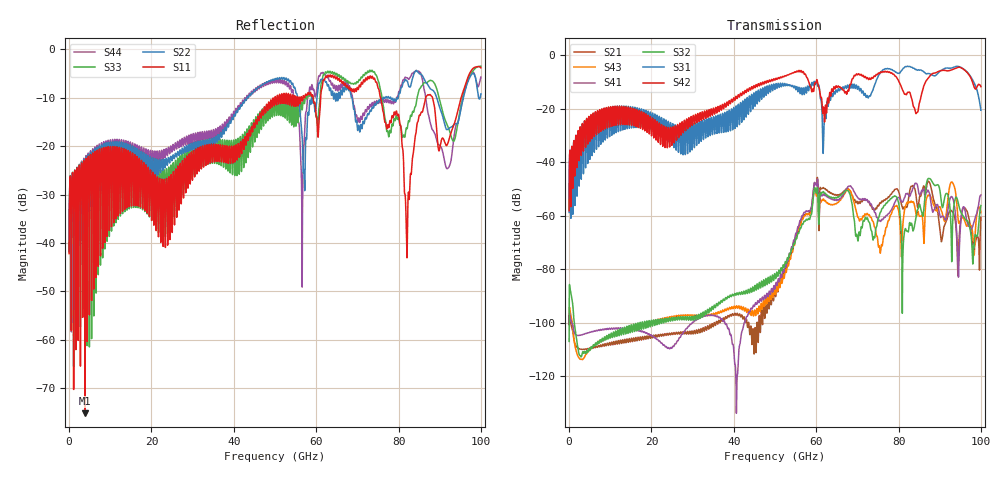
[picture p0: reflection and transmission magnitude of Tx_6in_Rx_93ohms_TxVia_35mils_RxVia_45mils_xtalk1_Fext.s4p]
! Info: Touchstone file created by Circ.  Input file=Tx_6in_Rx_93ohms_TxVia_35mils_RxVia_45mils.circ
# Hz S RI R 50
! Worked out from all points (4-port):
!   10000 points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, 10 MHz to 100 GHz, reference 50 ohm
!   strongest paths, dB at 10 MHz, 25.01 GHz, 50.01 GHz, 75.01 GHz, 100 GHz:
!     S42: -58.1, -32.9, -9.2, -6.8, -11.7
!     S31: -58.7, -29.3, -12.5, -7.9, -20.5
!     S32: -106.9, -98.4, -82.1, -61.1, -56.1
!     S41: -98.1, -109.3, -87.2, -61.2, -52.2
!     S43: -97.5, -97.6, -88.2, -70.1, -58.8
!     S21: -98.3, -103.9, -87.5, -56.1, -60.4
!   lowest |S11| = -75.2 dB at 3.85 GHz (marker M1), VSWR 1.00, Z = 50 - j0.00993 ohm
!   |S11| at or under -10 dB: start of sweep to 50.01 GHz; 75.61 GHz to 86.59 GHz (10.99 GHz wide, 13.5 % of centre); 88.25 GHz to 95.2 GHz (6.954 GHz wide, 7.58 % of centre) (the widest 3 of 18)
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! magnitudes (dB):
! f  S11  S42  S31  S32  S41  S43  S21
! 10 MHz  -42.2  -58.1  -58.7  -106.9  -98.1  -97.5  -98.3
! 3.85 GHz  -75.2  -25.9  -26.3  -110.8  -104.1  -112.5  -109.8
! 59.9 GHz  -13.1  -10.4  -10.4  -50.6  -48.2  -51.2  -48.0
! 73.37 GHz  -6.0  -8.7  -14.3  -65.4  -55.6  -60.6  -56.3
! 82.15 GHz  -38.4  -13.9  -4.0  -65.7  -51.5  -54.9  -56.2
! 94.54 GHz  -12.2  -4.4  -4.1  -55.4  -82.8  -62.1  -75.0
! 100 GHz  -3.8  -11.7  -20.5  -56.1  -52.2  -58.8  -60.4
